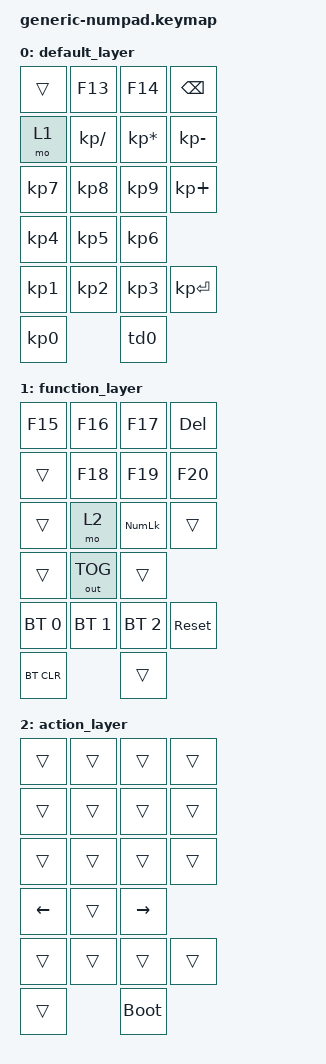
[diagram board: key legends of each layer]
#include <behaviors.dtsi>
#include <dt-bindings/zmk/keys.h>
#include <dt-bindings/zmk/bt.h>
#include <dt-bindings/zmk/outputs.h>





// -----------------reference----------------
// |   Crcl   |   HxGn  |   Sqr   |   Trgl  |
// | LAYERSFT |    /    |    *    |    -    |
// |    7     |    8    |    9    |    +    |
// |    4     |    5    |    6    |         |
// |    1     |    2    |    3    |  ENTER  |
// |          |    0    |         |    .    |


// ------------------default-----------------
// |   Crcl   |   F13   |   F14   |   BSPC  |
// | LAYERSFT |    /    |    *    |    -    |
// |    7     |    8    |    9    |    +    |
// |    4     |    5    |    6    |         |
// |    1     |    2    |    3    |  ENTER  |
// |          |    0    |  td(,.) |         | 


// ----------------------------functions-------------------------------
// |   Crcl     |    HxGn            |    Sqr    |        DEL         |
// |  LAYERSFT  |    NOP             |    NOP    |   Bluetooth PREV   |
// |    NOP     |    LAYERSFT        |    NUM    |   Bluetooth Next   |
// |    NOP     |    OUT_TOG         |    NOP    |                    |
// |Bluetooth 0 |    Bluetooth 1     |Bluetooth 2|   reset            |
// |            |    BluetoothCLR    |           |   NOP              |


// --------------------action layer------------------
// |    Crcl   |    HxGn   |     Sqr   |     Trgl   |
// |     NOP   |     NOP   |     NOP   |     NOP    |
// |     NOP   |     NOP   |     NOP   |            |
// |Arrow Left |     NOP   |Arrow Right|     NOP    |
// |     NOP   |     NOP   |     NOP   |     NOP    |
// |           |     NOP   |           | Bootloader |




/ {
    // special behaviors like tap-dance etc.
    behaviors {
        td0: tap_dance_0 {
            compatible = "zmk,behavior-tap-dance";
            #binding-cells = <0>;
            tapping-term-ms = <200>;        // <- ms time for press
            bindings = <&kp COMMA>, <&kp DOT>;        // <- define what button at what point of time -> first button first, second button second... -> define using td.. in "default_layer" i.e.
        };
    };

    // keymap buttons
    keymap {
        compatible = "zmk,keymap";

        // default_layer 1. standard layer
        default_layer {
            bindings = <
    &trans        &kp F13        &kp F14           &kp BACKSPACE    // Top Row with function keys
    &mo 1         &kp KP_DIVIDE  &kp KP_MULTIPLY   &kp KP_MINUS     // "&mo 1" layershift
    &kp KP_N7     &kp KP_N8      &kp KP_N9         &kp KP_PLUS
    &kp KP_N4     &kp KP_N5      &kp KP_N6
    &kp KP_N1     &kp KP_N2      &kp KP_N3         &kp KP_ENTER     // &kp "KP_[...]" only Numpad Button
    &kp KP_N0                    &td0                               // <- &td0 defined above as dot and comma -> was dot
            >;
        };
        function_layer {
            bindings = <
    &kp F15      &kp F16         &kp F17      &kp DEL
    &trans       &kp F18         &kp F19      &kp F20
    &trans       &mo 2           &kp KP_NUM   &trans
    &trans       &out OUT_TOG    &trans
    &bt BT_SEL 0 &bt BT_SEL 1    &bt BT_SEL 2 &sys_reset
    &bt BT_CLR                   &trans
            >;
        };
        action_layer {
            bindings = <
    &trans       &trans          &trans       &trans
    &trans       &trans          &trans       &trans
    &trans       &trans          &trans       &trans
    &kp LEFT     &trans          &kp RIGHT
    &trans       &trans          &trans       &trans
    &trans                       &bootloader
            >;
        };
    };
};
